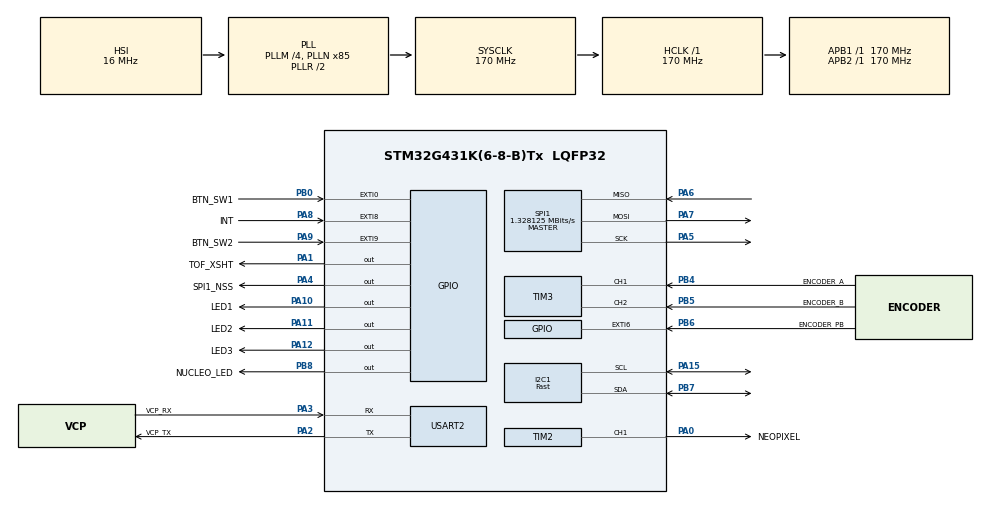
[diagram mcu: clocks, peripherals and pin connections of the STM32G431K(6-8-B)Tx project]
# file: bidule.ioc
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Dma.Request0=TIM2_CH1
Dma.TIM2_CH1.0.Direction=DMA_MEMORY_TO_PERIPH
Dma.TIM2_CH1.0.EventEnable=DISABLE
Dma.TIM2_CH1.0.Instance=DMA1_Channel1
Dma.TIM2_CH1.0.MemDataAlignment=DMA_MDATAALIGN_BYTE
Dma.TIM2_CH1.0.MemInc=DMA_MINC_ENABLE
Dma.TIM2_CH1.0.Mode=DMA_CIRCULAR
Dma.TIM2_CH1.0.PeriphDataAlignment=DMA_PDATAALIGN_WORD
Dma.TIM2_CH1.0.PeriphInc=DMA_PINC_DISABLE
Dma.TIM2_CH1.0.Polarity=HAL_DMAMUX_REQ_GEN_RISING
Dma.TIM2_CH1.0.Priority=DMA_PRIORITY_LOW
Dma.TIM2_CH1.0.RequestNumber=1
Dma.TIM2_CH1.0.SignalID=NONE
Dma.TIM2_CH1.0.SyncEnable=DISABLE
Dma.TIM2_CH1.0.SyncPolarity=HAL_DMAMUX_SYNC_NO_EVENT
Dma.TIM2_CH1.0.SyncRequestNumber=1
Dma.TIM2_CH1.0.SyncSignalID=NONE
I2C1.I2C_Speed_Mode=I2C_Fast
I2C1.Timing=0x40621236
Mcu.Family=STM32G4
Mcu.Name=STM32G431K(6-8-B)Tx
Mcu.Package=LQFP32
NVIC.DMA1_Channel1_IRQn=true\:0\:0\:false\:false\:true\:false\:true\:true
NVIC.EXTI0_IRQn=true\:0\:0\:false\:false\:true\:true\:true\:true
NVIC.EXTI9_5_IRQn=true\:0\:0\:false\:false\:true\:true\:true\:true
NVIC.I2C1_ER_IRQn=true\:0\:0\:false\:false\:true\:true\:true\:true
NVIC.I2C1_EV_IRQn=true\:0\:0\:false\:false\:true\:true\:true\:true
NVIC.PriorityGroup=NVIC_PRIORITYGROUP_4
NVIC.TIM2_IRQn=true\:0\:0\:false\:false\:true\:true\:true\:true
PA0.GPIO_Label=NEOPIXEL
PA0.Signal=S_TIM2_CH1
PA1.GPIO_Label=TOF_XSHT
PA1.Signal=GPIO_Output
PA10.GPIO_Label=LED1
PA10.Signal=GPIO_Output
PA11.GPIO_Label=LED2
PA11.Signal=GPIO_Output
PA12.GPIO_Label=LED3
PA12.Signal=GPIO_Output
PA13.GPIO_Label=T_SWDIO
PA13.Mode=Trace_Asynchronous_SW
PA13.Signal=SYS_JTMS-SWDIO
PA14.GPIO_Label=T_SWCLK
PA14.Mode=Trace_Asynchronous_SW
PA14.Signal=SYS_JTCK-SWCLK
PA15.GPIO_Pu=GPIO_PULLUP
PA15.Mode=I2C
PA15.Signal=I2C1_SCL
PA2.GPIO_Label=VCP_TX
PA2.Mode=Asynchronous
PA2.Signal=USART2_TX
PA3.GPIO_Label=VCP_RX
PA3.Mode=Asynchronous
PA3.Signal=USART2_RX
PA4.GPIO_Label=SPI1_NSS
PA4.PinState=GPIO_PIN_SET
PA4.Signal=GPIO_Output
PA5.GPIO_Speed=GPIO_SPEED_FREQ_LOW
PA5.Mode=Full_Duplex_Master
PA5.Signal=SPI1_SCK
PA6.GPIO_Speed=GPIO_SPEED_FREQ_LOW
PA6.Mode=Full_Duplex_Master
PA6.Signal=SPI1_MISO
PA7.GPIO_Speed=GPIO_SPEED_FREQ_LOW
PA7.Mode=Full_Duplex_Master
PA7.Signal=SPI1_MOSI
PA8.GPIO_Label=INT
PA8.Signal=GPXTI8
PA9.GPIO_Label=BTN_SW2
PA9.GPIO_ModeDefaultEXTI=GPIO_MODE_IT_FALLING
PA9.GPIO_PuPd=GPIO_PULLUP
PA9.Signal=GPXTI9
PB0.GPIO_Label=BTN_SW1
PB0.GPIO_ModeDefaultEXTI=GPIO_MODE_IT_FALLING
PB0.GPIO_PuPd=GPIO_PULLUP
PB0.Signal=GPXTI0
PB3.GPIO_Label=T_SWO
PB3.Mode=Trace_Asynchronous_SW
PB3.Signal=SYS_JTDO-SWO
PB4.GPIO_Label=ENCODER_A
PB4.GPIO_PuPd=GPIO_PULLUP
PB4.Signal=S_TIM3_CH1
PB5.GPIO_Label=ENCODER_B
PB5.GPIO_PuPd=GPIO_PULLUP
PB5.Signal=S_TIM3_CH2
PB6.GPIO_Label=ENCODER_PB
PB6.GPIO_PuPd=GPIO_PULLUP
PB6.Signal=GPXTI6
PB7.GPIO_Pu=GPIO_PULLUP
PB7.Mode=I2C
PB7.Signal=I2C1_SDA
PB8-BOOT0.GPIO_Label=NUCLEO_LED
PB8-BOOT0.Signal=GPIO_Output
ProjectManager.HeapSize=0x200
ProjectManager.StackSize=0x400
ProjectManager.TargetToolchain=CMake
RCC.ADC12Freq_Value=170000000
RCC.AHBFreq_Value=170000000
RCC.APB1Freq_Value=170000000
RCC.APB1TimFreq_Value=170000000
RCC.APB2Freq_Value=170000000
RCC.APB2TimFreq_Value=170000000
RCC.CortexFreq_Value=170000000
RCC.EXTERNAL_CLOCK_VALUE=12288000
RCC.HCLKFreq_Value=170000000
RCC.HSE_VALUE=8000000
RCC.HSI48_VALUE=48000000
RCC.HSI_VALUE=16000000
RCC.LSE_VALUE=32768
RCC.PLLM=RCC_PLLM_DIV4
RCC.PLLN=85
RCC.SYSCLKFreq_VALUE=170000000
RCC.SYSCLKSource=RCC_SYSCLKSOURCE_PLLCLK
RCC.USBFreq_Value=170000000
RCC.VCOOutputFreq_Value=340000000
SH.S_TIM2_CH1.0=TIM2_CH1,PWM Generation1 CH1
SH.S_TIM3_CH1.0=TIM3_CH1,Encoder_Interface
SH.S_TIM3_CH2.0=TIM3_CH2,Encoder_Interface
SPI1.BaudRatePrescaler=SPI_BAUDRATEPRESCALER_128
SPI1.CLKPhase=SPI_PHASE_2EDGE
SPI1.CLKPolarity=SPI_POLARITY_HIGH
SPI1.CalculateBaudRate=1.328125 MBits/s
SPI1.DataSize=SPI_DATASIZE_8BIT
SPI1.Direction=SPI_DIRECTION_2LINES
SPI1.Mode=SPI_MODE_MASTER
SPI1.VirtualType=VM_MASTER
TIM2.Channel-PWM\ Generation1\ CH1=TIM_CHANNEL_1
TIM2.PeriodNoDither=212
USART2.VirtualMode-Asynchronous=VM_ASYNC
VP_SYS_VS_DBSignals.Mode=DisableDeadBatterySignals
board=NUCLEO-G431KB

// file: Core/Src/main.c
/* USER CODE BEGIN Header */
/**
 ******************************************************************************
 * @file           : main.c
 * @brief          : Main program body
 ******************************************************************************
 * @attention
 *
 * Copyright (c) 2026 STMicroelectronics.
 * All rights reserved.
 *
 * This software is licensed under terms that can be found in the LICENSE file
 * in the root directory of this software component.
 * If no LICENSE file comes with this software, it is provided AS-IS.
 *
 ******************************************************************************
 */
/* USER CODE END Header */
#include "main.h"
#include "dma.h"
#include "i2c.h"
#include "spi.h"
#include "tim.h"
#include "usart.h"
#include "gpio.h"

void SystemClock_Config(void);

/* USER CODE BEGIN 0 */
#include "stdbool.h"
#include "bsp.h"
#define LED_BLINK_PERIOD 250

static volatile bool sw1_pressed = false;
static volatile bool sw2_pressed = false;

#define CCR_T0H 68
#define CCR_T1H 136

#define LED_NUMBER 1
#define COLOR_NUMBER 3
#define BITS_PER_COLOR 8

#define NP_BUFFER_LENGHT (LED_NUMBER*COLOR_NUMBER*BITS_PER_COLOR+1)

typedef struct color_struct { // Pour les LEDs RGB
	uint8_t r;
	uint8_t g;
	uint8_t b;
}color_t;

static const color_t red ={.r=50,.g=0,.b=0};
static const color_t green ={.r=0,.g=50,.b=0};
static const color_t blue ={.r=0,.g=0,.b=50};

uint8_t np_dma_buffer[NP_BUFFER_LENGHT];

void color_to_buffer(color_t * color, uint8_t * buffer)
{
	for (int i=0;i<NP_BUFFER_LENGHT;i++)
	{
		buffer[i] = ((color->g >> (7-i) & 0x01)) ? CCR_T1H : CCR_T0H;
	}

	for (int i=0;i<NP_BUFFER_LENGHT;i++)
	{
		buffer[BITS_PER_COLOR+i] = ((color->r >> (7-i) & 0x01)) ? CCR_T1H : CCR_T0H;
	}

	for (int i=0;i<NP_BUFFER_LENGHT;i++)
	{
		buffer[2*BITS_PER_COLOR+i] = ((color->b >> (7-i) & 0x01)) ? CCR_T1H : CCR_T0H;
	}

	// Dernier bit à 0 pour forcer le 0V du neopixel
	buffer[NP_BUFFER_LENGHT-1]=0;
}

static void hsv_to_rgb(int h, int s, int v, uint8_t *r, uint8_t *g, uint8_t *b) {
	h = ((h % 360) + 360) % 360;
	if (s <= 0) {
		*r = *g = *b = (uint8_t)v;
		return;
	}
	int region = h / 60;
	int rem = h % 60;
	int p = (v * (255 - s)) / 255;
	int q = (v * (255 - (s * rem) / 60)) / 255;
	int t = (v * (255 - (s * (60 - rem)) / 60)) / 255;
	switch (region) {
	case 0: *r = (uint8_t)v; *g = (uint8_t)t; *b = (uint8_t)p; break;
	case 1: *r = (uint8_t)q; *g = (uint8_t)v; *b = (uint8_t)p; break;
	case 2: *r = (uint8_t)p; *g = (uint8_t)v; *b = (uint8_t)t; break;
	case 3: *r = (uint8_t)p; *g = (uint8_t)q; *b = (uint8_t)v; break;
	case 4: *r = (uint8_t)t; *g = (uint8_t)p; *b = (uint8_t)v; break;
	default: *r = (uint8_t)v; *g = (uint8_t)p; *b = (uint8_t)q; break;
	}
}
/* USER CODE END 0 */

int main(void)
{

	/* MCU Configuration--------------------------------------------------------*/

	/* Reset of all peripherals, Initializes the Flash interface and the Systick. */
	HAL_Init();

	/* Configure the system clock */
	SystemClock_Config();

	/* Initialize all configured peripherals */
	MX_GPIO_Init();
	MX_DMA_Init();
	MX_I2C1_Init();
	MX_TIM3_Init();
	MX_TIM2_Init();
	MX_USART2_UART_Init();
	MX_SPI1_Init();

	/* Infinite loop */
	/* USER CODE BEGIN WHILE */
	while (1)
	{

		HAL_GPIO_TogglePin(LED1_GPIO_Port, LED1_Pin);
		HAL_Delay(2000);
		/* USER CODE END WHILE */

	}
}

void SystemClock_Config(void)
{
	RCC_OscInitTypeDef RCC_OscInitStruct = {0};
	RCC_ClkInitTypeDef RCC_ClkInitStruct = {0};

	/** Configure the main internal regulator output voltage
	 */
	HAL_PWREx_ControlVoltageScaling(PWR_REGULATOR_VOLTAGE_SCALE1_BOOST);

	/** Initializes the RCC Oscillators according to the specified parameters
	 * in the RCC_OscInitTypeDef structure.
	 */
	RCC_OscInitStruct.OscillatorType = RCC_OSCILLATORTYPE_HSI;
	RCC_OscInitStruct.HSIState = RCC_HSI_ON;
	RCC_OscInitStruct.HSICalibrationValue = RCC_HSICALIBRATION_DEFAULT;
	RCC_OscInitStruct.PLL.PLLState = RCC_PLL_ON;
	RCC_OscInitStruct.PLL.PLLSource = RCC_PLLSOURCE_HSI;
	RCC_OscInitStruct.PLL.PLLM = RCC_PLLM_DIV4;
	RCC_OscInitStruct.PLL.PLLN = 85;
	RCC_OscInitStruct.PLL.PLLP = RCC_PLLP_DIV2;
	RCC_OscInitStruct.PLL.PLLQ = RCC_PLLQ_DIV2;
	RCC_OscInitStruct.PLL.PLLR = RCC_PLLR_DIV2;
	if (HAL_RCC_OscConfig(&RCC_OscInitStruct) != HAL_OK)
	{
		Error_Handler();
	}

	/** Initializes the CPU, AHB and APB buses clocks
	 */
	RCC_ClkInitStruct.ClockType = RCC_CLOCKTYPE_HCLK|RCC_CLOCKTYPE_SYSCLK
			|RCC_CLOCKTYPE_PCLK1|RCC_CLOCKTYPE_PCLK2;
	RCC_ClkInitStruct.SYSCLKSource = RCC_SYSCLKSOURCE_PLLCLK;
	RCC_ClkInitStruct.AHBCLKDivider = RCC_SYSCLK_DIV1;
	RCC_ClkInitStruct.APB1CLKDivider = RCC_HCLK_DIV1;
	RCC_ClkInitStruct.APB2CLKDivider = RCC_HCLK_DIV1;

	if (HAL_RCC_ClockConfig(&RCC_ClkInitStruct, FLASH_LATENCY_4) != HAL_OK)
	{
		Error_Handler();
	}
}

void Error_Handler(void)
{
	/* USER CODE BEGIN Error_Handler_Debug */
	/* User can add his own implementation to report the HAL error return state */
	__disable_irq();

	uint32_t last_tick = 0;
	while (1)
	{
		uint32_t tick = HAL_GetTick();
		if (last_tick != tick) {
			last_tick = tick;
			if (0 == (tick % LED_BLINK_PERIOD)) {
				HAL_GPIO_TogglePin(LED1_GPIO_Port, LED1_Pin);
			}
		}
		if (sw1_pressed) {
			sw1_pressed = false;
			HAL_GPIO_TogglePin(LED2_GPIO_Port, LED2_Pin);
		}
		if (sw2_pressed) {
			sw2_pressed = false;
			HAL_GPIO_TogglePin(LED3_GPIO_Port, LED3_Pin);
		}
	}
	/* USER CODE END Error_Handler_Debug */
}
